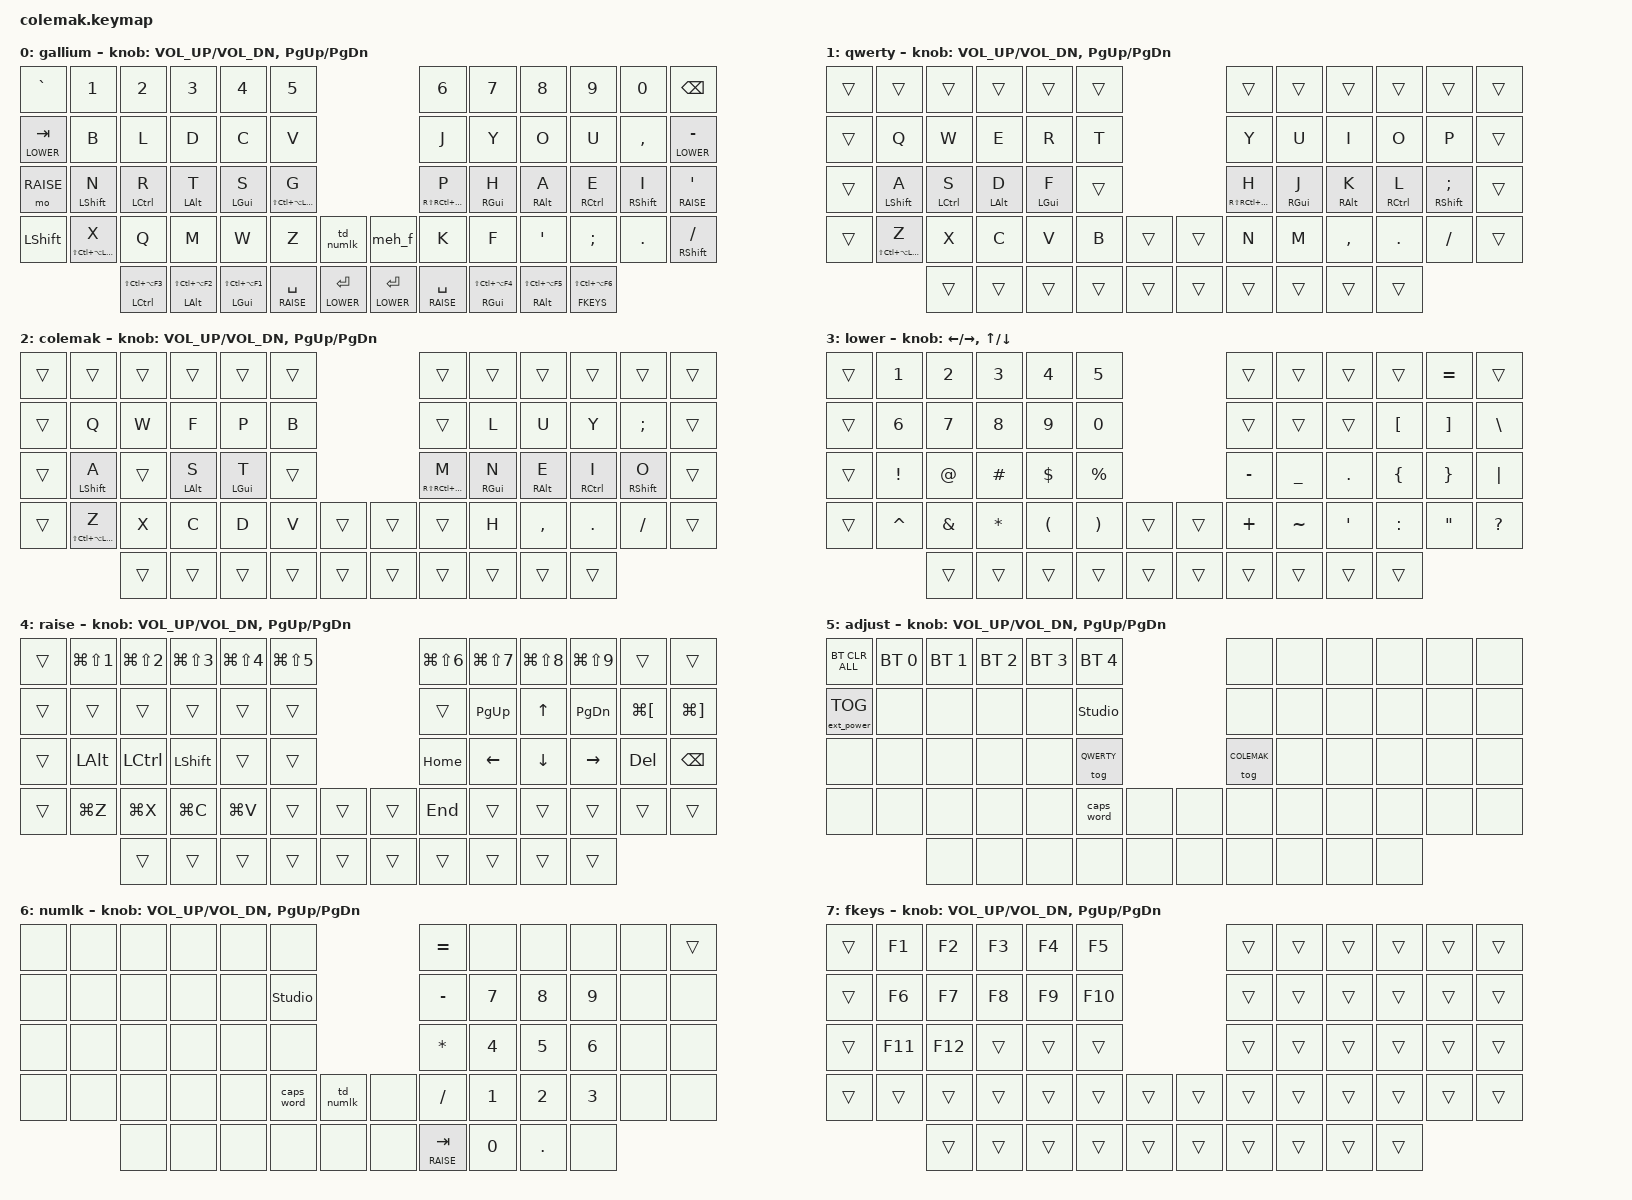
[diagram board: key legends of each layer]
/*
 * Profile: colemak
 * Description: Gallium v2 default, Colemak DH + QWERTY toggles, Hyper thumb chords, tap-dance numlk encoder
 * Created: 2026-02-10
 * Updated: 2026-02-18
 * Based on: macos
 */
/*
 * Copyright (c) 2020 The ZMK Contributors
 *
 * SPDX-License-Identifier: MIT
 */

#include <behaviors.dtsi>
#include <dt-bindings/zmk/bt.h>
#include <dt-bindings/zmk/ext_power.h>
#include <dt-bindings/zmk/keys.h>
#include <dt-bindings/zmk/pointing.h>

#define BASE 0
#define QWERTY 1
#define COLEMAK 2
#define LOWER 3
#define RAISE 4
#define ADJUST 5
#define extra_layer 6
#define FKEYS 7

/ {
    // Activate ADJUST layer by pressing raise and lower

    conditional_layers {
        compatible = "zmk,conditional-layers";

        adjust_layer {
            if-layers = <LOWER RAISE>;
            then-layer = <ADJUST>;
        };
    };

    combos {
        compatible = "zmk,combos";

        backspace {
            bindings = <&kp BACKSPACE>;
            key-positions = <32 31>;
        };

        delete {
            bindings = <&kp DELETE>;
            key-positions = <27 33>;
        };

        esc {
            bindings = <&kp ESCAPE>;
            key-positions = <25 41>;
        };

        esc2 {
            bindings = <&kp ESCAPE>;
            key-positions = <0 12>;
        };

        fwd_delete {
            bindings = <&kp DELETE>;
            key-positions = <28 27>;
        };

        shift_caps {
            bindings = <&td_caps>;
            key-positions = <36 49>;
        };

        esc3 {
            bindings = <&kp ESCAPE>;
            key-positions = <0 1>;
        };


        thumb_fatfinger {
            bindings = <&kp SPACE>;
            key-positions = <54 55>;
        };

        thumb_fatfinger_left {
            bindings = <&kp SPACE>;
            key-positions = <52 53>;
        };

        thumb_fatfinger_right {
            bindings = <&kp SPACE>;
            key-positions = <56 57>;
        };

    };

    macros {
        hyper: hyper {
            compatible = "zmk,behavior-macro";
            #binding-cells = <0>;
            bindings
                = <&macro_press &kp LSHFT &kp LCTRL &kp LALT &kp LGUI>
                , <&macro_pause_for_release>
                , <&macro_release &kp LSHFT &kp LCTRL &kp LALT &kp LGUI>
                ;
        };

        hyper_space: hyper_space {
            compatible = "zmk,behavior-macro";
            #binding-cells = <0>;
            bindings
                = <&macro_press &kp LSHFT &kp LCTRL &kp LALT &kp LGUI>
                , <&macro_tap &kp SPACE>
                , <&macro_release &kp LSHFT &kp LCTRL &kp LALT &kp LGUI>
                ;
        };

        hyper_f: hyper_f {
            compatible = "zmk,behavior-macro";
            #binding-cells = <0>;
            bindings
                = <&macro_press &kp LSHFT &kp LCTRL &kp LALT &kp LGUI>
                , <&macro_tap &kp F>
                , <&macro_release &kp LSHFT &kp LCTRL &kp LALT &kp LGUI>
                ;
        };

        meh_f: meh_f {
            compatible = "zmk,behavior-macro";
            #binding-cells = <0>;
            bindings
                = <&macro_press &kp RSHFT &kp RCTRL &kp RALT>
                , <&macro_tap &kp F>
                , <&macro_release &kp RSHFT &kp RCTRL &kp RALT>
                ;
        };

    };

    behaviors {
        caps: caps {
            compatible = "zmk,behavior-caps-word";
            label = "CAPS";
            #binding-cells = <0>;
            continue-list = <POUND MINUS BACKSPACE UNDERSCORE>;
        };

        hml: home_row_mod_left {
            compatible = "zmk,behavior-hold-tap";
            #binding-cells = <2>;
            flavor = "balanced";
            tapping-term-ms = <280>;
            quick-tap-ms = <175>;
            require-prior-idle-ms = <150>;
            bindings = <&kp>, <&kp>;
            hold-trigger-key-positions = <6 7 8 9 10 11 18 19 20 21 22 23 30 31 32 33 34 35 43 44 45 46 47 48 49 50 51 52 53 54 55 56 57 58 59>;
            hold-trigger-on-release;
        };

        lts: layer_tap_smart {
            compatible = "zmk,behavior-hold-tap";
            #binding-cells = <2>;
            flavor = "balanced";
            tapping-term-ms = <280>;
            quick-tap-ms = <175>;
            require-prior-idle-ms = <150>;
            bindings = <&mo>, <&kp>;
        };

        td_cmd: tap_dance_cmd {
            compatible = "zmk,behavior-tap-dance";
            #binding-cells = <0>;
            tapping-term-ms = <200>;
            bindings = <&kp RGUI>, <&hyper_space>;
        };

        td_caps: tap_dance_caps {
            compatible = "zmk,behavior-tap-dance";
            #binding-cells = <0>;
            tapping-term-ms = <200>;
            bindings = <&caps>, <&kp CLCK>;
        };

        td_enc_l: tap_dance_enc_left {
            compatible = "zmk,behavior-tap-dance";
            #binding-cells = <0>;
            tapping-term-ms = <200>;
            bindings = <&none>, <&hyper_f>;
        };

        td_enc_r: tap_dance_enc_right {
            compatible = "zmk,behavior-tap-dance";
            #binding-cells = <0>;
            tapping-term-ms = <200>;
            bindings = <&none>, <&meh_f>;
        };

        htk: hold_tap_kp {
            compatible = "zmk,behavior-hold-tap";
            #binding-cells = <2>;
            flavor = "balanced";
            tapping-term-ms = <200>;
            quick-tap-ms = <175>;
            bindings = <&kp>, <&kp>;
        };

        td_numlk: tap_dance_numlk {
            compatible = "zmk,behavior-tap-dance";
            #binding-cells = <0>;
            tapping-term-ms = <200>;
            bindings = <&mo extra_layer>, <&tog extra_layer>;
        };

        hmr: home_row_mod_right {
            compatible = "zmk,behavior-hold-tap";
            #binding-cells = <2>;
            flavor = "balanced";
            tapping-term-ms = <280>;
            quick-tap-ms = <175>;
            require-prior-idle-ms = <150>;
            bindings = <&kp>, <&kp>;
            hold-trigger-key-positions = <0 1 2 3 4 5 12 13 14 15 16 17 24 25 26 27 28 29 36 37 38 39 40 41 42 50 51 52 53 54 55 56 57 58 59>;
            hold-trigger-on-release;
        };
    };

    keymap {
        compatible = "zmk,keymap";

        default_layer {
            display-name = "gallium";

            // Gallium v2 (default layout)
            // b l d c v   j y o u ,
            // n r t s g   p h a e i
            // x q m w z   k f ' ; .

            bindings = <
&kp GRAVE         &kp N1  &kp N2    &kp N3    &kp N4     &kp N5                                     &kp N6     &kp N7     &kp N8     &kp N9    &kp N0    &kp BSPC
&lts LOWER TAB    &kp B   &kp L     &kp D     &kp C      &kp V                                      &kp J      &kp Y      &kp O      &kp U     &kp COMMA &lts LOWER MINUS
&mo RAISE         &hml LSHFT N  &hml LCTRL R  &hml LALT T  &hml LGUI S  &hml LS(LC(LA(LGUI))) G                      &hmr RS(RC(RALT)) P      &hmr RGUI H  &hmr RALT A  &hmr RCTRL E  &hmr RSHFT I  &lts RAISE SQT
&kp LSHFT         &hml LS(LC(LA(LGUI))) X   &kp Q     &kp M     &kp W      &kp Z      &td_numlk    &meh_f              &kp K      &kp F      &kp SQT    &kp SEMI  &kp DOT  &mt RSHFT FSLH
                          &htk LCTRL LS(LC(LA(F3)))  &htk LALT LS(LC(LA(F2)))  &htk LGUI LS(LC(LA(F1)))   &lts RAISE SPACE  &lts LOWER ENTER     &lts LOWER ENTER         &lts RAISE SPACE  &htk RGUI LS(LC(LA(F4)))   &htk RALT LS(LC(LA(F5)))   &lts FKEYS LS(LC(LA(F6)))
            >;

            sensor-bindings = <&inc_dec_kp C_VOL_UP C_VOL_DN &inc_dec_kp PG_UP PG_DN>;
        };

        qwerty_layer {
            display-name = "qwerty";

            // QWERTY alpha override — diff from Gallium v2 base

            bindings = <
&trans  &trans                   &trans  &trans       &trans       &trans                                &trans                  &trans       &trans       &trans        &trans           &trans
&trans  &kp Q                    &kp W   &kp E        &kp R        &kp T                                 &kp Y                   &kp U        &kp I        &kp O         &kp P            &trans
&trans  &hml LSHFT A             &hml LCTRL S  &hml LALT D  &hml LGUI F  &trans                          &hmr RS(RC(RALT)) H     &hmr RGUI J  &hmr RALT K  &hmr RCTRL L  &hmr RSHFT SEMI  &trans
&trans  &hml LS(LC(LA(LGUI))) Z  &kp X   &kp C        &kp V        &kp B   &trans    &trans    &kp N     &kp M   &kp COMMA  &kp DOT  &kp FSLH  &trans
                &trans  &trans  &trans  &trans  &trans    &trans    &trans  &trans  &trans  &trans
            >;

            sensor-bindings = <&inc_dec_kp C_VOL_UP C_VOL_DN &inc_dec_kp PG_UP PG_DN>;
        };

        colemak_layer {
            display-name = "colemak";

            // Colemak DH alpha override — diff from Gallium v2 base
            // q w f p b   j l u y ;
            // a r s t g   m n e i o
            // z x c d v   k h , . /

            bindings = <
&trans  &trans                   &trans  &trans       &trans       &trans                                &trans                  &trans       &trans       &trans        &trans           &trans
&trans  &kp Q                    &kp W   &kp F        &kp P        &kp B                                 &trans                  &kp L        &kp U        &kp Y         &kp SEMI         &trans
&trans  &hml LSHFT A             &trans  &hml LALT S  &hml LGUI T  &trans                                &hmr RS(RC(RALT)) M     &hmr RGUI N  &hmr RALT E  &hmr RCTRL I  &hmr RSHFT O     &trans
&trans  &hml LS(LC(LA(LGUI))) Z  &kp X   &kp C        &kp D        &kp V   &trans    &trans    &trans    &kp H   &kp COMMA  &kp DOT  &kp FSLH  &trans
                &trans  &trans  &trans  &trans  &trans    &trans    &trans  &trans  &trans  &trans
            >;

            sensor-bindings = <&inc_dec_kp C_VOL_UP C_VOL_DN &inc_dec_kp PG_UP PG_DN>;
        };

        lower_layer {
            display-name = "lower";

            // TODO: Some binds are waiting for shifted keycode support.
            // ------------------------------------------------------------------------------------------------------------
            // |       |  F1 |  F2 |  F3  |  F4  |  F5  |                   |  F6  |  F7   |  F8   |  F9  |  F10  |  F11  |
            // |   `   |  1  |  2  |  3   |  4   |  5   |                   |  6   |  7    |  8    |  9   |   0   |  F12  |
            // |       |  !  |  @  |  #   |  $   |  %   |                   |  ^   |  &    |  *    |  (   |   )   |   |   |
            // |       |  =  |  -  |  +   |  {   |  }   |        |  |       |  [   |  ]    |  ;    |  :   |   \   |       |
            //               |     |      |      |      |        |  |       |      |       |       |      |

            bindings = <
&trans  &kp N1     &kp N2     &kp N3     &kp N4     &kp N5                          &trans     &trans      &trans     &trans     &kp EQUAL  &trans
&trans  &kp N6     &kp N7     &kp N8     &kp N9     &kp N0                          &trans     &trans      &trans     &kp LBKT   &kp RBKT   &kp BSLH
&trans  &kp EXCL   &kp AT     &kp HASH   &kp DLLR   &kp PRCNT                      &kp MINUS  &kp UNDER   &kp DOT    &kp LBRC   &kp RBRC   &kp PIPE
&trans  &kp CARET  &kp AMPS   &kp ASTRK  &kp LPAR   &kp RPAR   &trans    &trans    &kp PLUS   &kp TILDE   &kp SQT    &kp COLON  &kp DQT    &kp QMARK
                   &trans     &trans     &trans     &trans     &trans    &trans     &trans     &trans      &trans     &trans
            >;

            sensor-bindings =
                <&inc_dec_kp LEFT_ARROW RIGHT_ARROW>,
                <&inc_dec_kp UP_ARROW DOWN_ARROW>;
        };

        raise_layer {
            display-name = "raise";

            // ------------------------------------------------------------------------------------------------------------
            // | BTCLR | BT1  | BT2  |  BT3  |  BT4  |  BT5 |                |      |      |       |      |       |       |
            // |       | INS  | PSCR | GUI   |       |      |                | PGUP |      |   ^   |      |       |       |
            // |       | ALT  | CTRL | SHIFT |       | CAPS |                | PGDN |   <- |   v   |  ->  |  DEL  | BKSPC |
            // |       |cmd+Z |cmd+X |cmd+C  |cmd+V  |      |      |  |      |      |      |       |      |       |       |
            //                |      |       |       |      |      |  |      |      |      |       |      |

            bindings = <
&trans  &kp LG(LS(N1))  &kp LG(LS(N2))  &kp LG(LS(N3))  &kp LG(LS(N4))  &kp LG(LS(N5))                      &kp LG(LS(N6))  &kp LG(LS(N7))  &kp LG(LS(N8))  &kp LG(LS(N9))  &trans   &trans
&trans  &trans      &trans     &trans       &trans       &trans                      &trans     &kp PG_UP &kp UP    &kp PG_DN  &kp LG(LBKT)   &kp LG(RBKT)
&trans  &kp LALT    &kp LCTRL  &kp LSHFT    &trans       &trans                    &kp HOME   &kp LEFT  &kp DOWN  &kp RIGHT  &kp DEL  &kp BSPC
&trans  &kp LG(Z)   &kp LG(X)  &kp LG(C)    &kp LG(V)    &trans    &trans    &trans  &kp END    &trans    &trans    &trans     &trans   &trans
                    &trans     &trans       &trans       &trans    &trans    &trans  &trans     &trans    &trans    &trans
            >;

            sensor-bindings = <&inc_dec_kp C_VOL_UP C_VOL_DN &inc_dec_kp PG_UP PG_DN>;
        };

        adjust_layer {
            // ----------------------------------------------------------------------------------------------------------------------------
            // | BTCLR  |  BT1    |  BT2    |   BT3   |   BT4   |   BT5   |                  |      |      |       |      |       |       |
            // | EXTPWR | RGB_HUD | RGB_HUI | RGB_SAD | RGB_SAI | RGB_EFF |                  |      |      |       |      |       |       |
            // |        | RGB_BRD | RGB_BRI |         |         |         |                  |      |      |       |      |       |       |
            // |        |         |         |         |         |         | RGB_TOG | |      |      |      |       |      |       |       |
            //                    |         |         |         |         |         | |      |      |      |       |      |

            display-name = "adjust";
            bindings = <
&bt BT_CLR_ALL     &bt BT_SEL 0  &bt BT_SEL 1  &bt BT_SEL 2  &bt BT_SEL 3  &bt BT_SEL 4                  &none  &none  &none  &none  &none  &none
&ext_power EP_TOG  &none         &none         &none         &none         &studio_unlock                         &none  &none  &none  &none  &none  &none
&none              &none         &none         &none         &none         &tog QWERTY                   &tog COLEMAK  &none  &none  &none  &none  &none
&none              &none         &none         &none         &none         &caps_word    &none    &none  &none  &none  &none  &none  &none  &none
                                 &none         &none         &none         &none         &none    &none  &none  &none  &none  &none
            >;

            sensor-bindings = <&inc_dec_kp C_VOL_UP C_VOL_DN &inc_dec_kp PG_UP PG_DN>;
        };
        extra_layer {
            // ----------------------------------------------------------------------------------------------------------------------------
            // | BTCLR  |  BT1    |  BT2    |   BT3   |   BT4   |   BT5   |                  |      |      |       |      |       |       |
            // | EXTPWR | RGB_HUD | RGB_HUI | RGB_SAD | RGB_SAI | RGB_EFF |                  |      |      |       |      |       |       |
            // |        | RGB_BRD | RGB_BRI |         |         |         |                  |      |      |       |      |       |       |
            // |        |         |         |         |         |         | RGB_TOG | |      |      |      |       |      |       |       |
            //                    |         |         |         |         |         | |      |      |      |       |      |

            display-name = "numlk";

            // ----------------------------------------------------------------------------------------------------------------------------
            // |        |         |         |         |         |         |   =    |      |       |      |       | BSPC  |
            // |        |         |         |         |         | Studio  |   -    |   7  |   8   |   9  |       |       |
            // |        |         |         |         |         |         |   *    |   4  |   5   |   6  |       |       |
            // |        |         |         |         |         | CpsWd   |     |  |   /  |   1   |   2  |   3   |       |       |
            //                    |         |         |         |         |     |  | RS/TB|   0   |   .  |       |

            bindings = <
&none              &none         &none         &none         &none         &none           &kp EQUAL  &none    &none    &none    &none    &trans
&none              &none         &none         &none         &none         &studio_unlock  &kp MINUS  &kp N7   &kp N8   &kp N9   &none    &none
&none              &none         &none         &none         &none         &none           &kp ASTRK  &kp N4   &kp N5   &kp N6   &none    &none
&none              &none         &none         &none         &none         &caps_word      &td_numlk  &none  &kp FSLH   &kp N1   &kp N2   &kp N3   &none    &none
                                 &none         &none         &none         &none           &none  &none  &lts RAISE TAB  &kp N0   &kp DOT    &none
            >;

            sensor-bindings = <&inc_dec_kp C_VOL_UP C_VOL_DN &inc_dec_kp PG_UP PG_DN>;
        };

        fkeys_layer {
            display-name = "fkeys";

            bindings = <
&trans  &kp F1   &kp F2   &kp F3   &kp F4   &kp F5                      &trans  &trans  &trans  &trans  &trans  &trans
&trans  &kp F6   &kp F7   &kp F8   &kp F9   &kp F10                     &trans  &trans  &trans  &trans  &trans  &trans
&trans  &kp F11  &kp F12  &trans   &trans   &trans                      &trans  &trans  &trans  &trans  &trans  &trans
&trans  &trans   &trans   &trans   &trans   &trans   &trans    &trans    &trans  &trans  &trans  &trans  &trans  &trans
                 &trans   &trans   &trans   &trans   &trans    &trans    &trans  &trans  &trans  &trans
            >;

            sensor-bindings = <&inc_dec_kp C_VOL_UP C_VOL_DN &inc_dec_kp PG_UP PG_DN>;
        };

    };
};
